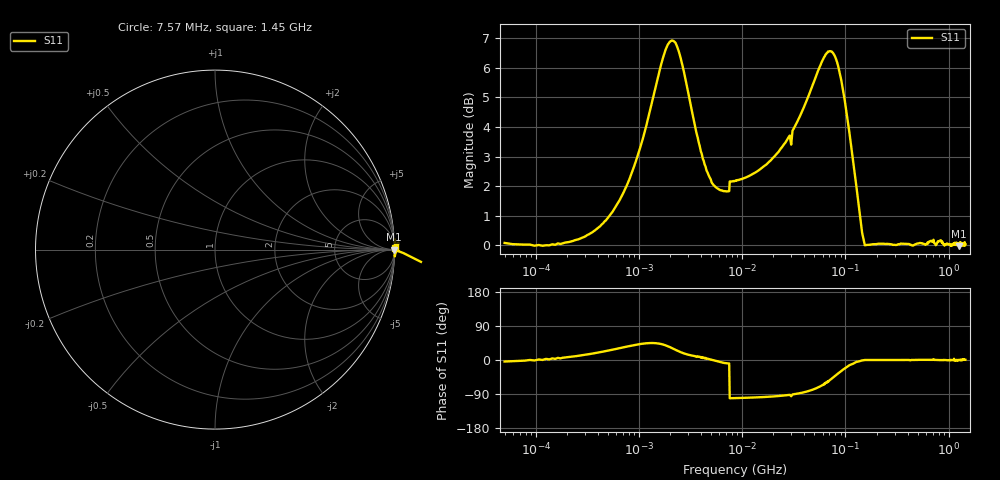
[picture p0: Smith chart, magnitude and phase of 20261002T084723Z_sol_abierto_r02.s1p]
! piloto_deriva / sol_abierto / r02
# HZ S RI R 50
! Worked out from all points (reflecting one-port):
!   501 points, 50 kHz to 1.45 GHz, reference 50 ohm
!   lowest |S11| = 0.0 dB at 1.261 GHz (marker M1), VSWR 638.21, Z = 3.1e+04 - j5.32e+03 ohm
!   phase of S11 starts at -4 deg and turns +5 deg over the sweep
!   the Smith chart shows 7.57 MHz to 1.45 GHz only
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50000  1.007 -0.0705
183000  1.003 0.1047
363500  1.008 0.3161
658000  1.02 0.6265
1180000  1.145 1.11
1630000  1.49 1.355
1990000  1.828 1.239
2440000  1.959 0.8176
2890000  1.804 0.4921
3430000  1.586 0.2951
4960000  1.292 0.0295
7300000  1.219 -0.1935
7750000  -0.2418 -1.26
8560000  -0.2351 -1.264
1.72e7  -0.175 -1.359
3.16e7  -0.0111 -1.576
4.78e7  0.3681 -1.824
6.49e7  1.045 -1.827
7.39e7  1.4 -1.599
8.65e7  1.65 -1.098
9.82e7  1.628 -0.6746
1e8  1.609 -0.6197
1.18e8  1.377 -0.2433
1.36e8  1.147 -0.0684
1.63e8  1.002 -0.000305
4.06e8  1.005 0.00104
1.261e9  0.9969 -0.000536
1.45e9  1.005 0.00917
